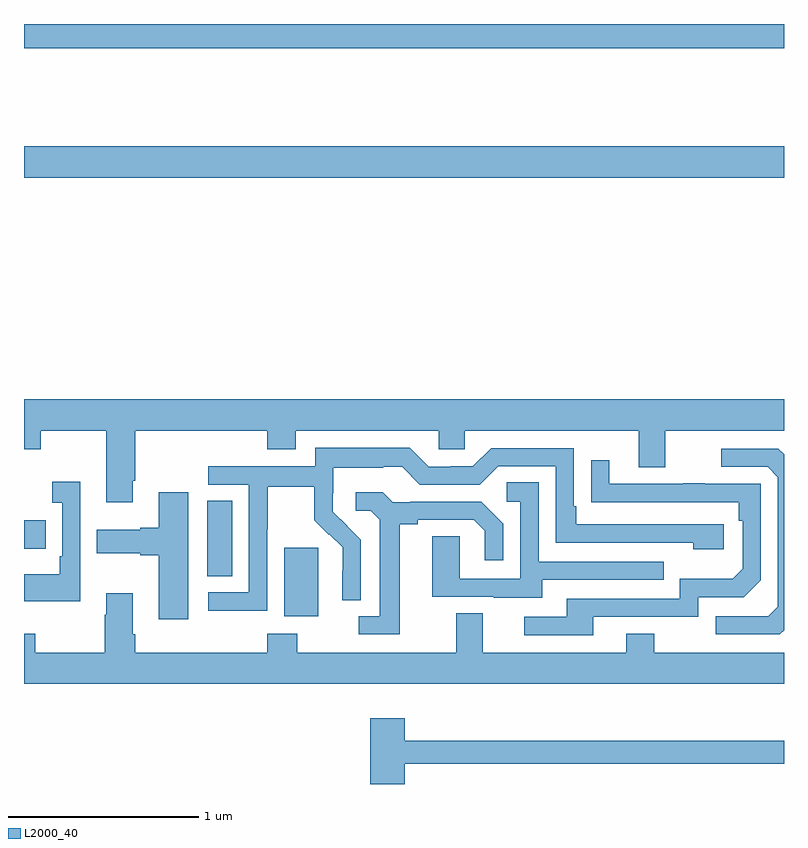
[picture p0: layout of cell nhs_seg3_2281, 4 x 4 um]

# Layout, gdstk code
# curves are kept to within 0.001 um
import gdstk
lib = gdstk.Library(unit=1e-6, precision=1e-09)
def R(c, l, rs):  # rectangles x0, y0, x1, y1
    for r in rs: c.add(gdstk.rectangle(r[:2], r[2:], *l))
def P(c, l, *ps):  # polygons
    for p in ps: c.add(gdstk.Polygon(p, *l))
L2000_40 = (2000, 40)

nhs_seg3_2281 = lib.new_cell('nhs_seg3_2281')
R(nhs_seg3_2281, L2000_40, [(230.369,689.282,230.548,689.643), (229.964,689.494,230.095,689.891), (229,689.639,229.115,689.787), (229,691.592,233,691.756), (229,692.272,233,692.4)])
P(nhs_seg3_2281, L2000_40, [(229.573,689.995),(229.586,689.995),(229.586,690.26),(230.279,690.26),(230.279,690.161),(230.431,690.161),(230.431,690.26),(231.183,690.26),(231.183,690.162),(231.321,690.162),(231.321,690.26),(232.235,690.26),(232.235,690.066),(232.375,690.066),(232.375,690.26),(233,690.26),(233,690.424),(229,690.424),(229,690.161),(229.089,690.161),(229.089,690.26),(229.433,690.26),(229.433,689.883),(229.573,689.883)],
  [(230.28,689.74),(230.283,689.74),(230.283,689.964),(230.527,689.964),(230.527,689.789),(230.604,689.712),(230.607,689.715),(230.678,689.645),(230.678,689.522),(230.676,689.522),(230.676,689.368),(230.772,689.368),(230.772,689.686),(230.626,689.834),(230.626,689.931),(230.628,689.931),(230.628,690.065),(230.891,690.065),(230.891,690.069),(230.991,690.069),(231.084,689.976),(231.399,689.976),(231.495,690.072),(231.798,690.072),(231.798,689.67),(232.523,689.67),(232.523,689.636),(232.684,689.636),(232.684,689.766),(231.907,689.766),(231.907,689.863),(231.894,689.863),(231.894,690.168),(231.459,690.168),(231.363,690.072),(231.245,690.072),(231.245,690.069),(231.129,690.069),(231.029,690.169),(230.532,690.169),(230.532,690.072),(229.971,690.072),(229.971,689.976),(230.184,689.976),(230.184,689.409),(229.971,689.409),(229.971,689.311),(230.28,689.311)],
  [(233,689.21),(233,690.136),(232.971,690.165),(232.671,690.165),(232.671,690.069),(232.914,690.069),(232.968,690.015),(232.968,689.334),(232.917,689.283),(232.641,689.283),(232.641,689.187),(232.977,689.187)],
  [(231.997,689.28),(232.548,689.28),(232.548,689.382),(232.788,689.382),(232.878,689.472),(232.878,689.979),(232.583,689.979),(232.583,689.984),(232.471,689.984),(232.471,689.979),(232.081,689.979),(232.081,690.103),(231.985,690.103),(231.985,689.884),(232.762,689.883),(232.762,689.786),(232.782,689.786),(232.782,689.532),(232.729,689.479),(232.452,689.479),(232.452,689.376),(231.857,689.376),(231.857,689.28),(231.633,689.28),(231.633,689.184),(231.997,689.184)],
  [(229.296,689.992),(229.149,689.992),(229.149,689.879),(229.2,689.879),(229.2,689.599),(229.188,689.599),(229.188,689.503),(229,689.503),(229,689.363),(229.296,689.363)],
  [(231.727,689.475),(232.367,689.475),(232.367,689.571),(231.708,689.571),(231.708,689.987),(231.54,689.987),(231.54,689.886),(231.612,689.886),(231.612,689.481),(231.294,689.481),(231.294,689.705),(231.149,689.705),(231.149,689.385),(231.473,689.385),(231.473,689.381),(231.727,689.381)],
  [(230.977,689.768),(231.073,689.768),(231.073,689.79),(231.368,689.79),(231.425,689.733),(231.425,689.577),(231.522,689.577),(231.522,689.77),(231.406,689.886),(231.034,689.886),(231.034,689.883),(230.94,689.883),(230.888,689.935),(230.745,689.935),(230.745,689.838),(230.826,689.838),(230.873,689.791),(230.873,689.283),(230.763,689.283),(230.763,689.187),(230.977,689.187)],
  [(229.864,689.935),(229.709,689.935),(229.709,689.75),(229.613,689.75),(229.613,689.737),(229.383,689.737),(229.383,689.615),(229.613,689.615),(229.613,689.603),(229.709,689.603),(229.709,689.268),(229.864,689.268)],
  [(233,689.092),(232.317,689.092),(232.317,689.191),(232.169,689.191),(232.169,689.092),(231.415,689.092),(231.415,689.3),(231.275,689.3),(231.275,689.092),(230.439,689.092),(230.439,689.191),(230.279,689.191),(230.279,689.092),(229.586,689.092),(229.586,689.188),(229.573,689.188),(229.573,689.404),(229.433,689.404),(229.433,689.291),(229.426,689.291),(229.426,689.092),(229.059,689.092),(229.059,689.191),(229,689.191),(229,688.928),(233,688.928)],
  [(231.005,688.506),(233,688.506),(233,688.627),(231.005,688.627),(231.005,688.747),(230.822,688.747),(230.822,688.4),(231.005,688.4)])

lib.write_gds('nhs_seg3_2281.gds')
